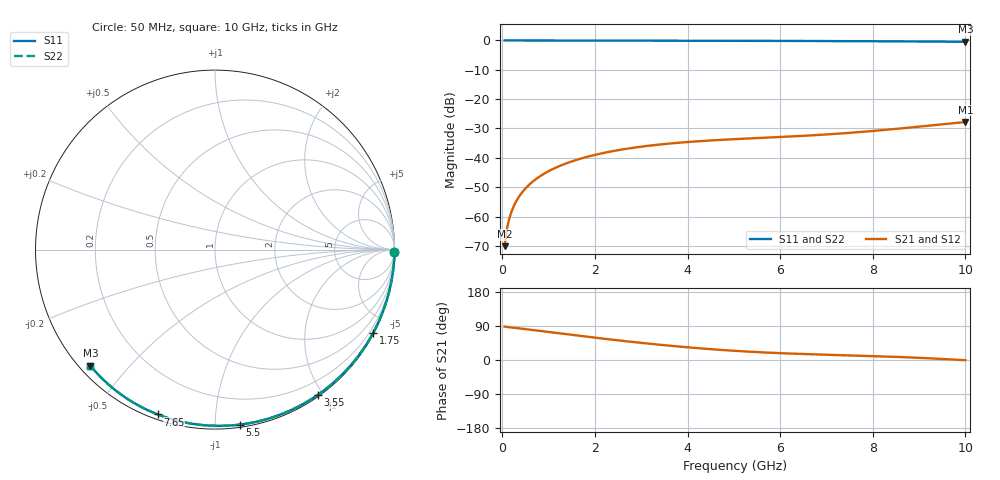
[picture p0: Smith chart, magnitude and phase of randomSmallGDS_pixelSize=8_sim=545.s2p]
! freq	dB(S11)	phase(S11)	dB(S12)	phase(S12)
!  dB(S21)	phase(S21)	dB(S22)	phase(S22)
!S-par simulation data
#  GHz  S  DB  R 50
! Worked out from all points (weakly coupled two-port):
!   200 points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, 50 MHz to 10 GHz, reference 50 ohm
!   highest |S21| = -27.79 dB at 10 GHz (marker M1); lowest = -70.1 dB at 50 MHz (marker M2)
!   lowest |S11| = -0.5 dB at 10 GHz (marker M3), VSWR 38.13, Z = 1.51 - j19.7 ohm
!   |S11| at or under -10 dB: nowhere
!   |S22| runs from -0.5 to 0.0 dB; largest |S21 - S12| = 0
!   S11 on the Smith chart (normalised r, x): 50 MHz: open; 1.75 GHz: 0.04, -4.06; 3.55 GHz: 0.02, -1.93; 5.5 GHz: 0.02, -1.15; 7.65 GHz: 0.02, -0.71; 10 GHz: 0.03, -0.39
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0.05  -0.00 -0.8  -70.10 88.3  -70.10 88.3  -0.00 -0.8
0.1  -0.00 -1.6  -64.18 87.2  -64.18 87.2  -0.00 -1.6
0.15  -0.00 -2.4  -60.73 86.4  -60.73 86.4  -0.00 -2.4
0.2  -0.00 -3.2  -58.28 85.8  -58.28 85.8  -0.00 -3.2
0.25  -0.00 -4.0  -56.38 85.1  -56.38 85.1  -0.00 -4.0
0.35  -0.00 -5.6  -53.49 83.7  -53.49 83.7  -0.00 -5.6
0.5  -0.01 -8.0  -50.43 81.5  -50.43 81.5  -0.01 -8.0
0.7  -0.01 -11.2  -47.56 78.5  -47.56 78.5  -0.01 -11.2
1  -0.02 -16.0  -44.55 73.9  -44.55 73.9  -0.02 -16.0
1.35  -0.03 -21.5  -42.07 68.6  -42.07 68.6  -0.03 -21.5
1.75  -0.04 -27.7  -40.01 62.6  -40.01 62.6  -0.04 -27.7
2.5  -0.05 -39.2  -37.39 51.8  -37.39 51.8  -0.05 -39.2
3.4  -0.07 -52.6  -35.46 40.2  -35.46 40.2  -0.07 -52.6
3.55  -0.07 -54.8  -35.22 38.5  -35.22 38.5  -0.07 -54.8
4.3  -0.09 -65.5  -34.27 30.5  -34.27 30.5  -0.09 -65.5
5.05  -0.12 -75.8  -33.60 24.0  -33.60 24.0  -0.12 -75.8
5.5  -0.13 -81.9  -33.26 20.9  -33.26 20.9  -0.13 -81.9
6.7  -0.19 -97.4  -32.32 15.0  -32.32 15.0  -0.19 -97.4
7.65  -0.24 -109.2  -31.30 11.7  -31.30 11.7  -0.24 -109.2
8.35  -0.30 -117.6  -30.35 9.0  -30.35 9.0  -0.30 -117.6
9.2  -0.37 -127.7  -29.06 4.6  -29.06 4.6  -0.37 -127.7
10  -0.46 -137.1  -27.79 -0.6  -27.79 -0.6  -0.46 -137.1
